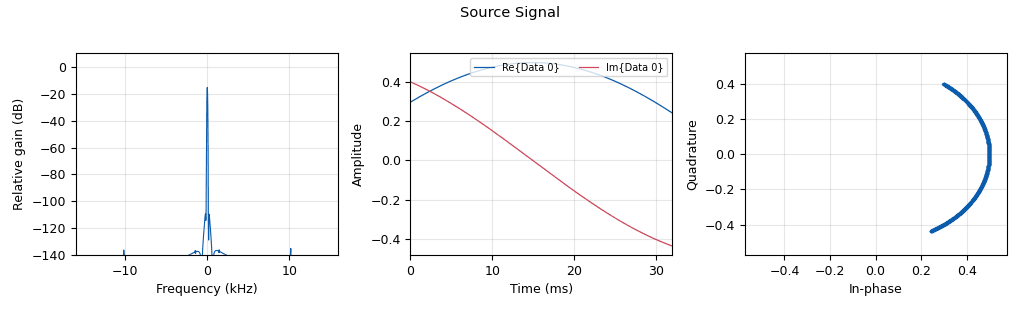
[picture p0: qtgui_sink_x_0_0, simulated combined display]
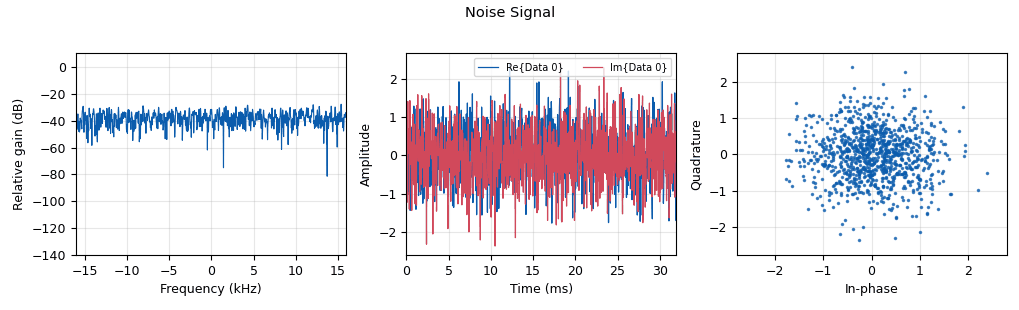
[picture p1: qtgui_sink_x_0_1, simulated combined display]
options:
  parameters:
    author: vamseekrishnatunuguntla
    generate_options: qt_gui
    id: Test1
    output_language: python
    title: Not titled yet
  states: {}

blocks:
- name: samp_rate
  id: variable
  parameters:
    value: '32000'
  states: {}
- name: analog_noise_source_x_0
  id: analog_noise_source_x
  parameters:
    amp: '1'
    noise_type: analog.GR_GAUSSIAN
    seed: '0'
    type: complex
  states: {}
- name: analog_sig_source_x_0
  id: analog_sig_source_x
  parameters:
    amp: '0.5'
    freq: '100000000'
    offset: '0'
    phase: '0'
    samp_rate: samp_rate
    type: complex
    waveform: analog.GR_SIN_WAVE
  states: {}
- name: blocks_complex_to_float_0
  id: blocks_complex_to_float
  parameters: {}
  states: {}
- name: blocks_float_to_complex_0
  id: blocks_float_to_complex
  parameters: {}
  states: {}
- name: blocks_multiply_xx_0
  id: blocks_multiply_xx
  parameters:
    type: complex
  states: {}
- name: blocks_threshold_ff_0
  id: blocks_threshold_ff
  parameters:
    high: samp_rate/2
    init: '0'
    low: '-samp_rate/2'
  states: {}
- name: blocks_threshold_ff_0_0
  id: blocks_threshold_ff
  parameters:
    high: samp_rate/2
    init: '0'
    low: '-samp_rate/2'
  states: {}
- name: blocks_throttle_0
  id: blocks_throttle
  parameters:
    samples_per_second: samp_rate
    type: complex
  states: {}
- name: qtgui_sink_x_0
  id: qtgui_sink_x
  parameters:
    bw: samp_rate
    fc: '0'
    fftsize: '1024'
    name: '"RFI Signal"'
    type: complex
  states: {}
- name: qtgui_sink_x_0_0
  id: qtgui_sink_x
  parameters:
    bw: samp_rate
    fc: '0'
    fftsize: '1024'
    name: '"Source Signal"'
    type: complex
  states: {}
- name: qtgui_sink_x_0_1
  id: qtgui_sink_x
  parameters:
    bw: samp_rate
    fc: '0'
    fftsize: '1024'
    name: '"Noise Signal"'
    type: complex
  states: {}

connections:
- [analog_noise_source_x_0, '0', blocks_multiply_xx_0, '1']
- [analog_noise_source_x_0, '0', qtgui_sink_x_0_1, '0']
- [analog_sig_source_x_0, '0', blocks_multiply_xx_0, '0']
- [analog_sig_source_x_0, '0', qtgui_sink_x_0_0, '0']
- [blocks_complex_to_float_0, '0', blocks_threshold_ff_0, '0']
- [blocks_complex_to_float_0, '1', blocks_threshold_ff_0_0, '0']
- [blocks_float_to_complex_0, '0', qtgui_sink_x_0, '0']
- [blocks_multiply_xx_0, '0', blocks_throttle_0, '0']
- [blocks_threshold_ff_0, '0', blocks_float_to_complex_0, '0']
- [blocks_threshold_ff_0_0, '0', blocks_float_to_complex_0, '1']
- [blocks_throttle_0, '0', blocks_complex_to_float_0, '0']

metadata:
  file_format: 1
  grc_version: 3.10.5.1
